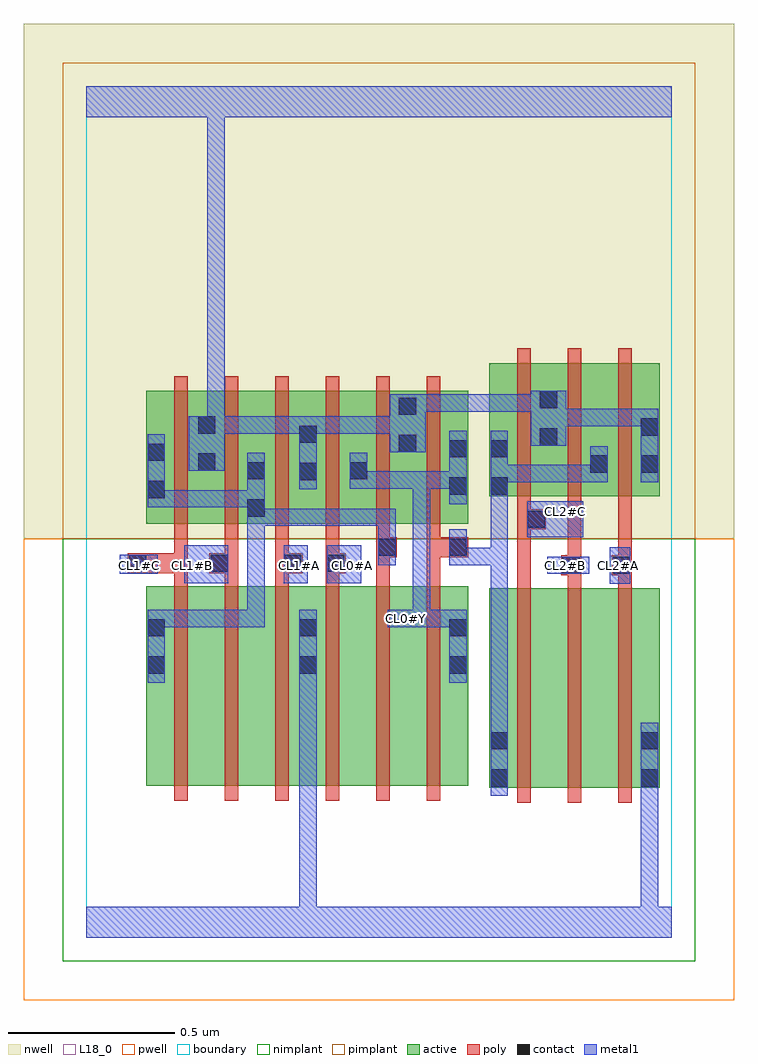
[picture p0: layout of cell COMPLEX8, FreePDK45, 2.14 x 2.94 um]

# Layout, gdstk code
import gdstk
lib = gdstk.Library(unit=1e-6, precision=1e-09)
def R(c, l, rs):  # rectangles x0, y0, x1, y1
    for r in rs: c.add(gdstk.rectangle(r[:2], r[2:], *l))
def A(c, l, x, y, w, h, nx, ny, dx, dy):  # array of equal rectangles
    R(c, l, [(x+i*dx, y+j*dy, x+i*dx+w, y+j*dy+h) for i in range(nx) for j in range(ny)])
active = (1, 0)
pwell = (2, 0)
nwell = (3, 0)
nimplant = (4, 0)
pimplant = (5, 0)
poly = (9, 0)
contact = (10, 0)
metal1 = (11, 0)
L18_0 = (18, 0)
boundary = (235, 0)

complex8 = lib.new_cell('COMPLEX8')
R(complex8, active, [(1.212,0.45,1.272,1.05), (1.212,0.45,1.392,1.05), (1.392,0.45,1.544,1.05), (1.544,0.45,1.724,1.05), (1.664,0.45,1.724,1.05), (0.18,0.456,0.36,1.056), (0.36,0.456,0.512,1.056), (0.512,0.456,0.696,1.056), (0.636,0.456,0.816,1.056), (0.816,0.456,0.968,1.056), (0.968,0.456,1.148,1.056), (0.18,0.556,0.24,1.056), (0.636,0.556,0.696,1.056), (1.088,0.556,1.148,1.056), (0.18,1.244,0.392,1.644), (0.18,1.244,0.24,1.644), (0.332,1.244,0.54,1.644), (0.332,1.244,0.392,1.644), (0.48,1.244,0.54,1.644), (0.48,1.244,0.696,1.644), (0.636,1.244,0.848,1.644), (0.636,1.244,0.696,1.644), (0.788,1.244,0.996,1.644), (0.788,1.244,0.848,1.644), (0.936,1.244,1.148,1.644), (0.936,1.244,0.996,1.644), (1.088,1.244,1.148,1.644), (1.212,1.328,1.42,1.728), (1.212,1.328,1.272,1.728), (1.36,1.328,1.572,1.728), (1.36,1.328,1.42,1.648), (1.512,1.328,1.572,1.644), (1.512,1.328,1.724,1.728), (1.664,1.328,1.724,1.644)])
R(complex8, pwell, [(-0.188,-0.188,1.948,1.2)])
R(complex8, nwell, [(-0.188,1.2,1.948,2.748)])
R(complex8, nimplant, [(-0.072,-0.072,1.832,1.2)])
R(complex8, pimplant, [(-0.072,1.2,1.832,2.632)])
A(complex8, poly, 1.296, 0.406, 0.04, 0.688, 3, 1, 0.152, 0)
A(complex8, poly, 0.264, 0.412, 0.04, 0.688, 6, 1, 0.152, 0)
A(complex8, poly, 0.264, 1.06, 0.04, 0.076, 4, 1, 0.152, 0)
A(complex8, poly, 0.264, 1.116, 0.04, 0.124, 4, 1, 0.152, 0)
A(complex8, poly, 0.264, 1.2, 0.04, 0.488, 6, 1, 0.152, 0)
A(complex8, poly, 1.296, 1.284, 0.04, 0.488, 3, 1, 0.152, 0)
R(complex8, poly, [(1.296,1.054,1.336,1.268), (1.448,1.054,1.488,1.13), (1.6,1.054,1.64,1.13), (0.872,1.06,0.912,1.184), (1.024,1.06,1.064,1.184), (1.428,1.09,1.488,1.15), (1.58,1.09,1.64,1.15), (0.124,1.096,0.304,1.156), (0.37,1.096,0.456,1.156), (0.416,1.096,0.456,1.136), (0.416,1.096,0.456,1.136), (0.568,1.096,0.65,1.156), (0.72,1.096,0.78,1.156), (1.448,1.11,1.488,1.324), (1.448,1.11,1.488,1.15), (1.448,1.11,1.488,1.15), (1.6,1.11,1.64,1.324), (1.6,1.11,1.64,1.15), (1.6,1.11,1.64,1.15), (0.264,1.116,0.304,1.156), (0.264,1.116,0.304,1.156), (0.568,1.116,0.608,1.156), (0.568,1.116,0.608,1.156), (0.72,1.116,0.76,1.156), (0.72,1.116,0.76,1.156), (0.872,1.144,0.912,1.184), (0.872,1.144,0.912,1.184), (0.872,1.144,0.934,1.204), (1.024,1.144,1.064,1.184), (1.024,1.144,1.064,1.184), (1.024,1.144,1.148,1.204), (0.872,1.164,0.912,1.24), (1.024,1.164,1.064,1.24), (1.296,1.228,1.336,1.268), (1.296,1.228,1.336,1.268), (1.296,1.228,1.382,1.288), (1.296,1.248,1.336,1.324)])
R(complex8, contact, [(1.216,0.454,1.268,0.506), (1.668,0.454,1.72,0.506), (1.216,0.566,1.268,0.618), (1.668,0.566,1.72,0.618), (0.184,0.794,0.236,0.846), (0.64,0.794,0.692,0.846), (1.092,0.794,1.144,0.846), (0.184,0.906,0.236,0.958), (0.64,0.906,0.692,0.958), (1.092,0.906,1.144,0.958), (1.432,1.094,1.484,1.146), (1.584,1.094,1.636,1.146), (0.128,1.1,0.18,1.152), (0.374,1.1,0.426,1.152), (0.594,1.1,0.646,1.152), (0.724,1.1,0.776,1.152), (0.878,1.148,0.93,1.2), (1.092,1.148,1.144,1.2), (1.326,1.232,1.378,1.284), (0.484,1.266,0.536,1.318), (0.184,1.322,0.236,1.374), (1.092,1.332,1.144,1.384), (1.216,1.332,1.268,1.384), (0.64,1.376,0.692,1.428), (0.484,1.378,0.536,1.43), (0.792,1.378,0.844,1.43), (1.516,1.398,1.568,1.45), (1.668,1.398,1.72,1.45), (0.336,1.404,0.388,1.456), (0.184,1.434,0.236,1.486), (1.092,1.444,1.144,1.496), (1.216,1.444,1.268,1.496), (0.94,1.46,0.992,1.512), (1.364,1.48,1.416,1.532), (0.64,1.488,0.692,1.54), (1.668,1.51,1.72,1.562), (0.336,1.516,0.388,1.568), (0.94,1.572,0.992,1.624), (1.364,1.592,1.416,1.644)])
R(complex8, metal1, [(0,0,1.76,0.092), (0.64,0.04,0.692,0.818), (1.668,0.04,1.72,0.478), (1.216,0.426,1.268,0.646), (1.668,0.426,1.72,0.478), (1.668,0.426,1.72,0.478), (1.668,0.426,1.72,0.478), (1.668,0.426,1.72,0.478), (1.668,0.426,1.72,0.478), (1.668,0.426,1.72,0.478), (1.668,0.426,1.72,0.478), (1.668,0.426,1.72,0.478), (1.668,0.426,1.72,0.646), (1.216,0.594,1.268,1.172), (0.184,0.766,0.236,0.986), (0.64,0.766,0.692,0.818), (0.64,0.766,0.692,0.818), (0.64,0.766,0.692,0.818), (0.64,0.766,0.692,0.818), (0.64,0.766,0.692,0.818), (0.64,0.766,0.692,0.818), (0.64,0.766,0.692,0.818), (0.64,0.766,0.692,0.818), (0.64,0.766,0.692,0.986), (1.092,0.766,1.144,0.986), (0.184,0.934,0.236,0.986), (0.184,0.934,0.236,0.986), (0.184,0.934,0.426,0.986), (0.374,0.934,0.426,0.986), (0.374,0.934,0.426,0.986), (0.374,0.934,0.426,0.986), (0.374,0.934,0.536,0.986), (0.484,0.934,0.536,0.986), (0.484,0.934,0.536,1.29), (0.906,0.934,1.034,0.986), (0.982,0.934,1.144,0.986), (0.982,0.934,1.034,1.402), (1.092,0.934,1.144,0.986), (1.092,0.934,1.144,0.986), (1.092,0.934,1.144,0.986), (1.092,0.934,1.144,0.986), (1.574,1.064,1.636,1.174), (0.294,1.066,0.426,1.18), (0.594,1.066,0.666,1.18), (0.724,1.066,0.826,1.18), (0.1,1.094,0.214,1.152), (1.386,1.094,1.512,1.146), (0.878,1.12,0.93,1.29), (1.092,1.12,1.144,1.172), (1.092,1.12,1.144,1.172), (1.092,1.12,1.144,1.228), (1.092,1.12,1.268,1.172), (1.216,1.12,1.268,1.172), (1.216,1.12,1.268,1.172), (1.216,1.12,1.268,1.172), (1.216,1.12,1.268,1.356), (1.326,1.204,1.494,1.312), (0.484,1.238,0.536,1.29), (0.484,1.238,0.536,1.29), (0.484,1.238,0.536,1.29), (0.484,1.238,0.536,1.29), (0.484,1.238,0.536,1.29), (0.484,1.238,0.536,1.29), (0.484,1.238,0.536,1.458), (0.484,1.238,0.71,1.29), (0.658,1.238,0.71,1.29), (0.658,1.238,0.71,1.29), (0.658,1.238,0.71,1.29), (0.658,1.238,0.848,1.29), (0.796,1.238,0.848,1.29), (0.796,1.238,0.93,1.29), (0.184,1.294,0.236,1.346), (0.184,1.294,0.236,1.346), (0.184,1.294,0.236,1.514), (0.184,1.294,0.426,1.346), (0.374,1.294,0.426,1.346), (0.374,1.294,0.426,1.346), (0.374,1.294,0.426,1.346), (0.374,1.294,0.536,1.346), (1.092,1.304,1.144,1.524), (1.216,1.304,1.268,1.524), (0.64,1.348,0.692,1.568), (0.792,1.35,1.034,1.402), (0.792,1.35,0.844,1.458), (0.982,1.35,1.034,1.402), (0.982,1.35,1.034,1.402), (0.982,1.35,1.034,1.402), (0.982,1.35,1.034,1.402), (0.982,1.35,1.034,1.402), (0.982,1.35,1.144,1.402), (1.092,1.35,1.144,1.402), (1.092,1.35,1.144,1.402), (1.216,1.37,1.268,1.422), (1.216,1.37,1.268,1.422), (1.216,1.37,1.378,1.422), (1.326,1.37,1.378,1.422), (1.326,1.37,1.378,1.422), (1.326,1.37,1.378,1.422), (1.326,1.37,1.568,1.422), (1.516,1.37,1.568,1.478), (1.668,1.37,1.72,1.59), (0.308,1.404,0.416,1.568), (0.912,1.46,1.02,1.634), (1.336,1.48,1.444,1.644), (0.364,1.516,0.416,1.568), (0.364,1.516,0.416,1.568), (0.364,1.516,0.416,1.568), (0.364,1.516,0.416,1.568), (0.364,1.516,0.416,1.568), (0.364,1.516,0.416,1.568), (0.364,1.516,0.416,1.568), (0.364,1.516,0.416,1.568), (0.364,1.516,0.416,1.568), (0.364,1.516,0.416,1.568), (0.364,1.516,0.536,1.568), (0.364,1.516,0.416,2.52), (0.484,1.516,0.536,1.568), (0.484,1.516,0.536,1.568), (0.484,1.516,0.536,1.568), (0.484,1.516,0.692,1.568), (0.64,1.516,0.82,1.568), (0.768,1.516,0.82,1.568), (0.768,1.516,0.82,1.568), (0.768,1.516,0.82,1.568), (0.768,1.516,0.964,1.568), (0.912,1.516,0.964,1.568), (0.912,1.516,0.964,1.568), (1.392,1.538,1.444,1.59), (1.392,1.538,1.444,1.59), (1.392,1.538,1.554,1.59), (1.502,1.538,1.554,1.59), (1.502,1.538,1.72,1.59), (1.668,1.538,1.72,1.59), (1.668,1.538,1.72,1.59), (0.968,1.582,1.144,1.634), (1.092,1.582,1.144,1.634), (1.092,1.582,1.158,1.634), (1.106,1.582,1.158,1.634), (1.106,1.582,1.268,1.634), (1.216,1.582,1.268,1.634), (1.216,1.582,1.268,1.634), (1.216,1.582,1.268,1.634), (1.216,1.582,1.388,1.634), (0,2.468,1.76,2.56), (0.364,2.468,0.416,2.52), (0.364,2.468,0.416,2.52), (0.364,2.468,0.416,2.52), (0.364,2.468,0.416,2.52), (0.364,2.468,0.416,2.52), (0.364,2.468,0.416,2.52), (0.364,2.468,0.416,2.52), (0.364,2.468,0.416,2.52)])
R(complex8, L18_0, [(0,0,1.76,0.092), (0.64,0.04,0.692,0.818), (1.668,0.04,1.72,0.478), (1.668,0.426,1.72,0.478), (1.668,0.426,1.72,0.478), (1.668,0.426,1.72,0.478), (1.668,0.426,1.72,0.478), (1.668,0.426,1.72,0.478), (1.668,0.426,1.72,0.478), (1.668,0.426,1.72,0.478), (1.668,0.426,1.72,0.478), (1.668,0.426,1.72,0.646), (0.64,0.766,0.692,0.818), (0.64,0.766,0.692,0.818), (0.64,0.766,0.692,0.818), (0.64,0.766,0.692,0.818), (0.64,0.766,0.692,0.818), (0.64,0.766,0.692,0.818), (0.64,0.766,0.692,0.818), (0.64,0.766,0.692,0.818), (0.64,0.766,0.692,0.986), (1.092,0.766,1.144,0.986), (0.906,0.934,1.034,0.986), (0.934,0.934,0.986,0.986), (0.982,0.934,1.034,1.402), (0.982,0.934,1.144,0.986), (1.092,0.934,1.144,0.986), (1.092,0.934,1.144,0.986), (1.092,0.934,1.144,0.986), (1.092,0.934,1.144,0.986), (1.574,1.064,1.636,1.174), (0.294,1.066,0.426,1.18), (0.594,1.066,0.666,1.18), (0.724,1.066,0.826,1.18), (0.1,1.094,0.214,1.152), (0.134,1.094,0.186,1.146), (0.294,1.094,0.346,1.146), (0.614,1.094,0.666,1.146), (0.774,1.094,0.826,1.146), (1.386,1.094,1.512,1.146), (1.414,1.094,1.466,1.146), (1.574,1.094,1.626,1.146), (1.326,1.204,1.494,1.312), (1.414,1.254,1.466,1.306), (1.092,1.304,1.144,1.524), (0.64,1.348,0.692,1.568), (0.792,1.35,0.844,1.458), (0.792,1.35,1.034,1.402), (0.982,1.35,1.034,1.402), (0.982,1.35,1.034,1.402), (0.982,1.35,1.034,1.402), (0.982,1.35,1.034,1.402), (0.982,1.35,1.034,1.402), (0.982,1.35,1.144,1.402), (1.092,1.35,1.144,1.402), (1.092,1.35,1.144,1.402), (1.668,1.37,1.72,1.59), (0.308,1.404,0.416,1.568), (0.912,1.46,1.02,1.634), (1.336,1.48,1.444,1.644), (0.364,1.516,0.416,1.568), (0.364,1.516,0.416,1.568), (0.364,1.516,0.416,1.568), (0.364,1.516,0.416,1.568), (0.364,1.516,0.416,1.568), (0.364,1.516,0.416,1.568), (0.364,1.516,0.416,1.568), (0.364,1.516,0.416,1.568), (0.364,1.516,0.416,1.568), (0.364,1.516,0.416,1.568), (0.364,1.516,0.416,2.52), (0.364,1.516,0.536,1.568), (0.484,1.516,0.536,1.568), (0.484,1.516,0.536,1.568), (0.484,1.516,0.536,1.568), (0.484,1.516,0.692,1.568), (0.64,1.516,0.82,1.568), (0.768,1.516,0.82,1.568), (0.768,1.516,0.82,1.568), (0.768,1.516,0.82,1.568), (0.768,1.516,0.964,1.568), (0.912,1.516,0.964,1.568), (0.912,1.516,0.964,1.568), (1.392,1.538,1.444,1.59), (1.392,1.538,1.444,1.59), (1.392,1.538,1.554,1.59), (1.502,1.538,1.554,1.59), (1.502,1.538,1.72,1.59), (1.668,1.538,1.72,1.59), (1.668,1.538,1.72,1.59), (0.968,1.582,1.144,1.634), (1.092,1.582,1.144,1.634), (1.092,1.582,1.158,1.634), (1.106,1.582,1.158,1.634), (1.106,1.582,1.268,1.634), (1.216,1.582,1.268,1.634), (1.216,1.582,1.268,1.634), (1.216,1.582,1.268,1.634), (1.216,1.582,1.388,1.634), (0,2.468,1.76,2.56), (0.364,2.468,0.416,2.52), (0.364,2.468,0.416,2.52), (0.364,2.468,0.416,2.52), (0.364,2.468,0.416,2.52), (0.364,2.468,0.416,2.52), (0.364,2.468,0.416,2.52), (0.364,2.468,0.416,2.52), (0.364,2.468,0.416,2.52)])
R(complex8, boundary, [(0,0,1.76,2.56)])
complex8.add(gdstk.Label('CL0#A', (0.8,1.12), layer=11, texttype=0))
complex8.add(gdstk.Label('CL0#Y', (0.96,0.96), layer=11, texttype=0))
complex8.add(gdstk.Label('CL1#A', (0.64,1.12), layer=11, texttype=0))
complex8.add(gdstk.Label('CL1#B', (0.32,1.12), layer=11, texttype=0))
complex8.add(gdstk.Label('CL1#C', (0.16,1.12), layer=11, texttype=0))
complex8.add(gdstk.Label('CL2#A', (1.6,1.12), layer=11, texttype=0))
complex8.add(gdstk.Label('CL2#B', (1.44,1.12), layer=11, texttype=0))
complex8.add(gdstk.Label('CL2#C', (1.44,1.28), layer=11, texttype=0))

lib.write_gds('COMPLEX8.gds')
